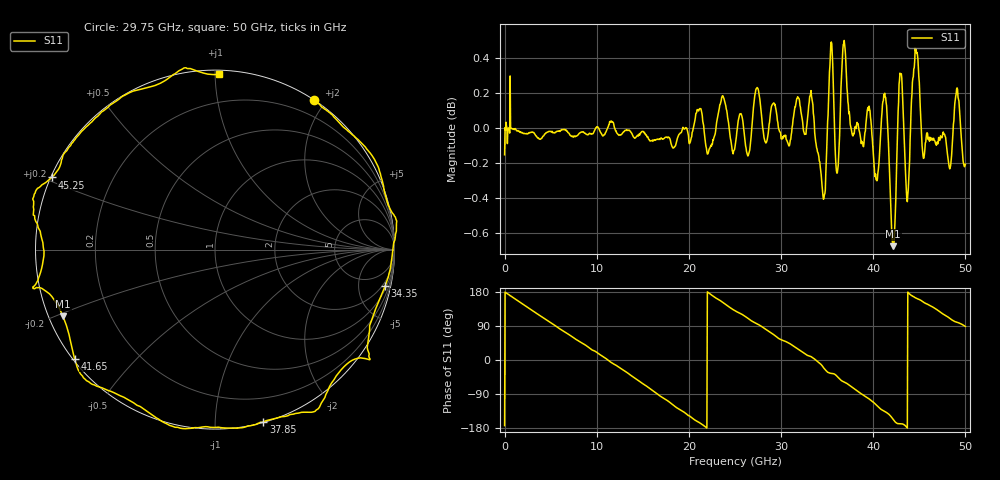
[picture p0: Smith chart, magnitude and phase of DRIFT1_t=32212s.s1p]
!Created with skrf (http://scikit-rf.org).
# Hz S RI R 50.0
!freq ReS11 ImS11
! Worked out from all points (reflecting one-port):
!   1001 points, 300 kHz to 50 GHz, reference 50 ohm
!   lowest |S11| = -0.7 dB at 42.15 GHz (marker M1), VSWR 25.66, Z = 2.03 - j10.5 ohm
!   phase of S11 starts at -173 deg and turns -818 deg over the sweep
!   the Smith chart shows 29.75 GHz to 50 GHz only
!   S11 on the Smith chart (normalised r, x): 29.75 GHz: 0.00, +1.86; 34.35 GHz: 1.36, -9.25; 37.85 GHz: 0.00, -1.32; 41.65 GHz: 0.01, -0.34; 45.25 GHz: 0.00, +0.21; 50 GHz: 0.02, +1.02
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300000  -0.9754 -0.1177
1.450291e9  -0.9126 0.4049
3.25028e9  -0.592 0.8013
6.250262e9  0.2017 0.9784
9.450243e9  0.886 0.455
1.250022e10  0.9321 -0.3492
1.580021e10  0.2383 -0.9624
1.74002e10  -0.2223 -0.9685
1.875019e10  -0.598 -0.7931
2.150017e10  -0.9926 -0.1542
2.345016e10  -0.9286 0.4149
2.500015e10  -0.6335 0.7577
2.740014e10  -0.0965 1.023
2.975012e10  0.5501 0.8342
3.125011e10  0.786 0.622
3.31501e10  1.007 0.1741
3.435009e10  0.9482 -0.2029
3.520009e10  0.856 -0.5738
3.750008e10  0.3723 -0.9308
3.785007e10  0.27 -0.9591
3.960006e10  -0.2377 -0.9841
4.165005e10  -0.7822 -0.6071
4.215005e10  -0.8468 -0.3723
4.290004e10  -1.014 -0.2166
4.375004e10  -0.9568 0.0143
4.525003e10  -0.9099 0.4018
4.770001e10  -0.4916 0.8662
5e10  0.0244 0.976
